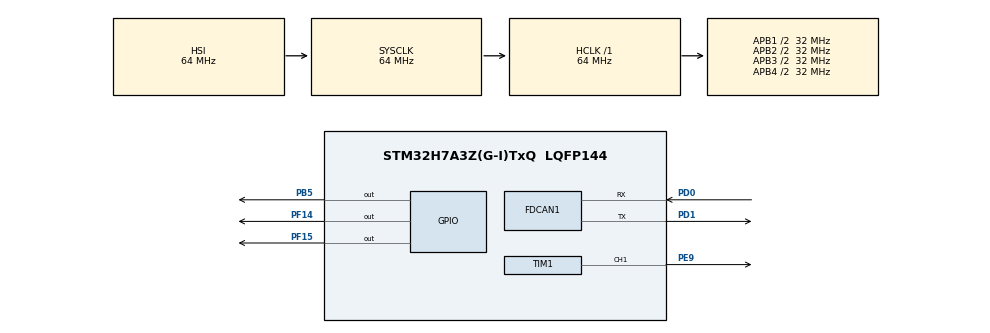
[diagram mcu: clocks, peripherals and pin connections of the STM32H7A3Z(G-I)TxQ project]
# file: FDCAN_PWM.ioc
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FDCAN1.AutoRetransmission=ENABLE
FDCAN1.DataSyncJumpWidth=4
FDCAN1.DataTimeSeg1=5
FDCAN1.DataTimeSeg2=4
FDCAN1.FrameFormat=FDCAN_FRAME_FD_NO_BRS
FDCAN1.NominalTimeSeg1=5
FDCAN1.RxBuffersNbr=1
FDCAN1.RxFifo0ElmtsNbr=1
FDCAN1.StdFiltersNbr=1
Mcu.Family=STM32H7
Mcu.Name=STM32H7A3Z(G-I)TxQ
Mcu.Package=LQFP144
NVIC.FDCAN1_IT0_IRQn=true\:0\:0\:false\:false\:true\:true\:true
NVIC.PriorityGroup=NVIC_PRIORITYGROUP_4
PB5.Signal=GPIO_Output
PD0.Mode=FDCAN_Activate
PD0.Signal=FDCAN1_RX
PD1.Mode=FDCAN_Activate
PD1.Signal=FDCAN1_TX
PE9.Signal=S_TIM1_CH1
PF14.Signal=GPIO_Output
PF15.Signal=GPIO_Output
PH0-OSC_IN.Mode=HSE-External-Oscillator
PH0-OSC_IN.Signal=RCC_OSC_IN
PH1-OSC_OUT.Mode=HSE-External-Oscillator
PH1-OSC_OUT.Signal=RCC_OSC_OUT
ProjectManager.HeapSize=0x200
ProjectManager.StackSize=0x400
ProjectManager.TargetToolchain=STM32CubeIDE
RCC.ADCFreq_Value=129000000
RCC.APB1Freq_Value=32000000
RCC.APB2Freq_Value=32000000
RCC.APB3Freq_Value=32000000
RCC.APB4Freq_Value=32000000
RCC.CDPPRE=RCC_APB3_DIV2
RCC.CDPPRE1=RCC_APB1_DIV2
RCC.CDPPRE2=RCC_APB2_DIV2
RCC.CortexFreq_Value=64000000
RCC.DIVM1=4
RCC.DIVN1=8
RCC.DIVQ1=32
RCC.HCLKFreq_Value=64000000
RCC.PLLFRACN=0
RCC.SRDPPRE=RCC_APB4_DIV2
RCC.SYSCLKFreq_VALUE=64000000
RCC.USBFreq_Value=4000000
SH.S_TIM1_CH1.0=TIM1_CH1,PWM Generation1 CH1
TIM1.Channel-PWM\ Generation1\ CH1=TIM_CHANNEL_1
TIM1.Period=100
TIM1.Prescaler=63
TIM1.Pulse-PWM\ Generation1\ CH1=50
VP_TIM1_VS_ClockSourceINT.Mode=Internal
board=custom

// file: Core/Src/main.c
/* USER CODE BEGIN Header */
/**
  ******************************************************************************
  * @file           : main.c
  * @brief          : Main program body
  ******************************************************************************
  * @attention
  *
  * Copyright (c) 2023 STMicroelectronics.
  * All rights reserved.
  *
  * This software is licensed under terms that can be found in the LICENSE file
  * in the root directory of this software component.
  * If no LICENSE file comes with this software, it is provided AS-IS.
  *
  ******************************************************************************
  */
/* USER CODE END Header */
#include "main.h"
#include "fdcan.h"
#include "tim.h"
#include "gpio.h"

void SystemClock_Config(void);

/* USER CODE BEGIN 0 */
// FDCAN1 Defines
FDCAN_TxHeaderTypeDef   TxHeader1;
FDCAN_RxHeaderTypeDef   RxHeader1;

uint8_t TxData_Node2_To_Node3[8];
uint8_t RxData_From_Node3[8];

// FDCAN1 Callback
void HAL_FDCAN_RxFifo0Callback(FDCAN_HandleTypeDef *hfdcan, uint32_t RxFifo0ITs)
{
  if((RxFifo0ITs & FDCAN_IT_RX_FIFO0_NEW_MESSAGE) != RESET)
  {
    /* Retreive Rx messages from RX FIFO0 */
    if (HAL_FDCAN_GetRxMessage(hfdcan, FDCAN_RX_FIFO0, &RxHeader1, RxData_From_Node3) != HAL_OK)
    {
    /* Reception Error */
    Error_Handler();
    }

    if (HAL_FDCAN_ActivateNotification(hfdcan, FDCAN_IT_RX_FIFO0_NEW_MESSAGE, 0) != HAL_OK)
    {
      /* Notification Error */
      Error_Handler();
    }
  }
}

// Configure TX Header for FDCAN1

/* USER CODE END 0 */

int main(void)
{

  /* MCU Configuration--------------------------------------------------------*/

  /* Reset of all peripherals, Initializes the Flash interface and the Systick. */
  HAL_Init();

  /* Configure the system clock */
  SystemClock_Config();

  /* Initialize all configured peripherals */
  MX_GPIO_Init();
  MX_FDCAN1_Init();
  MX_TIM1_Init();
  /* USER CODE BEGIN 2 */
  HAL_TIM_PWM_Start(&htim1, TIM_CHANNEL_1);
  if(HAL_FDCAN_Start(&hfdcan1)!= HAL_OK)
    {
     Error_Handler();
    }
  if (HAL_FDCAN_ActivateNotification(&hfdcan1, FDCAN_IT_RX_FIFO0_NEW_MESSAGE, 0) != HAL_OK)
    {
      /* Notification Error */
      Error_Handler();
    }
	TxHeader1.Identifier = 0x22;
	TxHeader1.IdType = FDCAN_STANDARD_ID;
	TxHeader1.TxFrameType = FDCAN_DATA_FRAME;
	TxHeader1.DataLength = FDCAN_DLC_BYTES_8;
	TxHeader1.ErrorStateIndicator = FDCAN_ESI_ACTIVE;
	TxHeader1.BitRateSwitch = FDCAN_BRS_OFF;
	TxHeader1.FDFormat = FDCAN_FD_CAN;
	TxHeader1.TxEventFifoControl = FDCAN_NO_TX_EVENTS;
	TxHeader1.MessageMarker = 0;
	htim1.Instance->CCR1=80;

  /* USER CODE END 2 */

  /* Infinite loop */
  /* USER CODE BEGIN WHILE */
  while (1)
  {
	  if (RxData_From_Node3[0]=='L')

	  {
	  HAL_GPIO_WritePin(GPIOF, GPIO_PIN_14, 1);
	  HAL_GPIO_WritePin(GPIOF, GPIO_PIN_15, 0);
	  HAL_Delay(200);
	  HAL_GPIO_WritePin(GPIOF, GPIO_PIN_14, 0);
	  HAL_GPIO_WritePin(GPIOF, GPIO_PIN_15, 0);
	  HAL_Delay(1000);
	  }
	  if (RxData_From_Node3[0]=='R'){
	  HAL_GPIO_WritePin(GPIOF, GPIO_PIN_15, 1);
	  HAL_GPIO_WritePin(GPIOF, GPIO_PIN_14, 0);
	  HAL_Delay(200);
	  HAL_GPIO_WritePin(GPIOF, GPIO_PIN_14, 0);
	  HAL_GPIO_WritePin(GPIOF, GPIO_PIN_15, 0);
	  HAL_Delay(1000);
	  }
//	  HAL_GPIO_WritePin(GPIOF, GPIO_PIN_15, RESET);
//	  HAL_Delay(200);
//	  HAL_GPIO_WritePin(GPIOF, GPIO_PIN_14, SET);
//	  HAL_Delay(200);
//	  HAL_GPIO_WritePin(GPIOF, GPIO_PIN_14, RESET);
//	  HAL_Delay(200);
//	  HAL_GPIO_WritePin(GPIOF, GPIO_PIN_15, SET);
//	  HAL_Delay(200);
	  //      sprintf ((char *)TxData_Node2_To_Node3, "FDCAN1");
	  //
	  //      if (HAL_FDCAN_AddMessageToTxFifoQ(&hfdcan1, &TxHeader1,TxData_Node2_To_Node3)!= HAL_OK)
	  //      {
	  //       Error_Handler();
	  //      }
	  //

    /* USER CODE END WHILE */

  }
}

void SystemClock_Config(void)
{
  RCC_OscInitTypeDef RCC_OscInitStruct = {0};
  RCC_ClkInitTypeDef RCC_ClkInitStruct = {0};

  /** Supply configuration update enable
  */
  HAL_PWREx_ConfigSupply(PWR_DIRECT_SMPS_SUPPLY);
  /** Configure the main internal regulator output voltage
  */
  __HAL_PWR_VOLTAGESCALING_CONFIG(PWR_REGULATOR_VOLTAGE_SCALE3);

  while(!__HAL_PWR_GET_FLAG(PWR_FLAG_VOSRDY)) {}
  /** Initializes the RCC Oscillators according to the specified parameters
  * in the RCC_OscInitTypeDef structure.
  */
  RCC_OscInitStruct.OscillatorType = RCC_OSCILLATORTYPE_HSI;
  RCC_OscInitStruct.HSIState = RCC_HSI_DIV1;
  RCC_OscInitStruct.HSICalibrationValue = RCC_HSICALIBRATION_DEFAULT;
  RCC_OscInitStruct.PLL.PLLState = RCC_PLL_ON;
  RCC_OscInitStruct.PLL.PLLSource = RCC_PLLSOURCE_HSI;
  RCC_OscInitStruct.PLL.PLLM = 4;
  RCC_OscInitStruct.PLL.PLLN = 8;
  RCC_OscInitStruct.PLL.PLLP = 2;
  RCC_OscInitStruct.PLL.PLLQ = 32;
  RCC_OscInitStruct.PLL.PLLR = 2;
  RCC_OscInitStruct.PLL.PLLRGE = RCC_PLL1VCIRANGE_3;
  RCC_OscInitStruct.PLL.PLLVCOSEL = RCC_PLL1VCOWIDE;
  RCC_OscInitStruct.PLL.PLLFRACN = 0;
  if (HAL_RCC_OscConfig(&RCC_OscInitStruct) != HAL_OK)
  {
    Error_Handler();
  }
  /** Initializes the CPU, AHB and APB buses clocks
  */
  RCC_ClkInitStruct.ClockType = RCC_CLOCKTYPE_HCLK|RCC_CLOCKTYPE_SYSCLK
                              |RCC_CLOCKTYPE_PCLK1|RCC_CLOCKTYPE_PCLK2
                              |RCC_CLOCKTYPE_D3PCLK1|RCC_CLOCKTYPE_D1PCLK1;
  RCC_ClkInitStruct.SYSCLKSource = RCC_SYSCLKSOURCE_HSI;
  RCC_ClkInitStruct.SYSCLKDivider = RCC_SYSCLK_DIV1;
  RCC_ClkInitStruct.AHBCLKDivider = RCC_HCLK_DIV1;
  RCC_ClkInitStruct.APB3CLKDivider = RCC_APB3_DIV2;
  RCC_ClkInitStruct.APB1CLKDivider = RCC_APB1_DIV2;
  RCC_ClkInitStruct.APB2CLKDivider = RCC_APB2_DIV2;
  RCC_ClkInitStruct.APB4CLKDivider = RCC_APB4_DIV2;

  if (HAL_RCC_ClockConfig(&RCC_ClkInitStruct, FLASH_LATENCY_2) != HAL_OK)
  {
    Error_Handler();
  }
}

void Error_Handler(void)
{
  __disable_irq();
  while (1)
  {
  }
}
